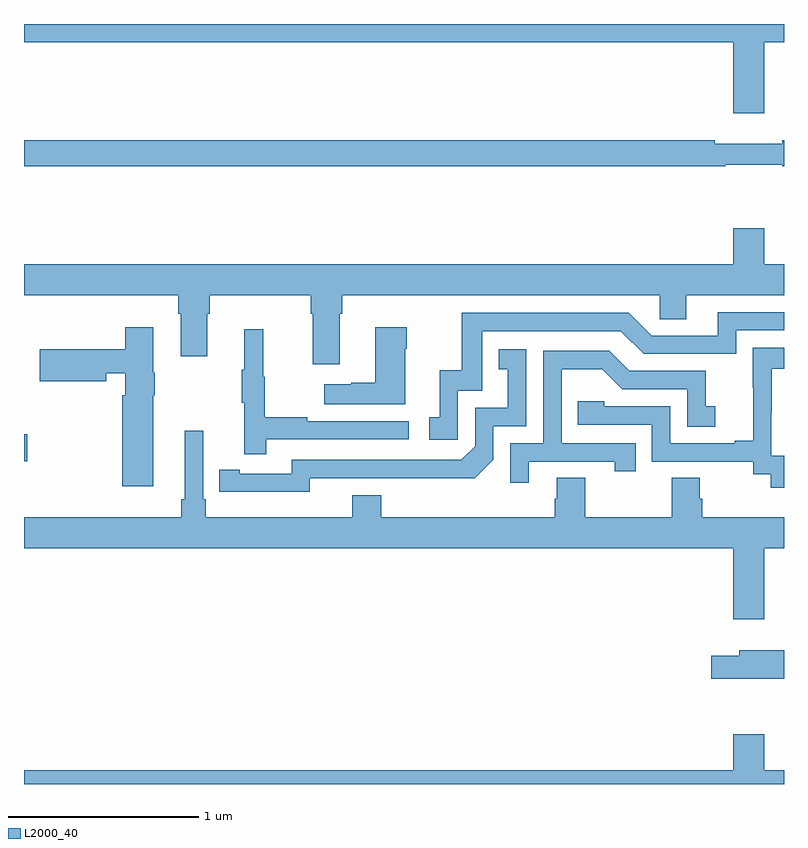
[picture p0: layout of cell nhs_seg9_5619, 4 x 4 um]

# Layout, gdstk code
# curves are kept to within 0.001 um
import gdstk
lib = gdstk.Library(unit=1e-6, precision=1e-09)
def R(c, l, rs):  # rectangles x0, y0, x1, y1
    for r in rs: c.add(gdstk.rectangle(r[:2], r[2:], *l))
def P(c, l, *ps):  # polygons
    for p in ps: c.add(gdstk.Polygon(p, *l))
L2000_40 = (2000, 40)

nhs_seg9_5619 = lib.new_cell('nhs_seg9_5619')
R(nhs_seg9_5619, L2000_40, [(437,1210.198,437.017,1210.34)])
P(nhs_seg9_5619, L2000_40, [(440.896,1212.404),(441,1212.404),(441,1212.5),(437,1212.5),(437,1212.404),(440.732,1212.404),(440.732,1212.03),(440.896,1212.03)],
  [(440.692,1211.76),(440.992,1211.76),(440.992,1211.752),(441,1211.752),(441,1211.888),(440.992,1211.888),(440.992,1211.869),(440.636,1211.869),(440.636,1211.888),(437,1211.888),(437,1211.752),(440.692,1211.752)],
  [(438.661,1210.976),(438.674,1210.976),(438.674,1211.072),(440.346,1211.072),(440.346,1210.945),(440.485,1210.945),(440.485,1211.072),(441,1211.072),(441,1211.236),(440.896,1211.236),(440.896,1211.425),(440.732,1211.425),(440.732,1211.236),(437,1211.236),(437,1211.072),(437.813,1211.072),(437.813,1210.976),(437.825,1210.976),(437.825,1210.752),(437.965,1210.752),(437.965,1210.976),(437.978,1210.976),(437.978,1211.072),(438.509,1211.072),(438.509,1210.976),(438.521,1210.976),(438.521,1210.71),(438.661,1210.71)],
  [(439.284,1210.569),(439.413,1210.569),(439.413,1210.884),(440.142,1210.884),(440.262,1210.764),(440.748,1210.764),(440.748,1210.887),(441,1210.887),(441,1210.983),(440.651,1210.983),(440.651,1210.86),(440.304,1210.86),(440.184,1210.98),(439.305,1210.98),(439.305,1210.678),(439.187,1210.678),(439.187,1210.431),(439.134,1210.431),(439.134,1210.311),(439.284,1210.311)],
  [(437.68,1210.545),(437.688,1210.545),(437.688,1210.665),(437.68,1210.665),(437.68,1210.903),(437.534,1210.903),(437.534,1210.789),(437.082,1210.789),(437.082,1210.619),(437.434,1210.619),(437.434,1210.662),(437.534,1210.662),(437.534,1210.545),(437.516,1210.545),(437.516,1210.068),(437.68,1210.068)],
  [(439.006,1210.79),(439.014,1210.79),(439.014,1210.903),(438.848,1210.903),(438.848,1210.613),(438.722,1210.613),(438.722,1210.603),(438.579,1210.603),(438.579,1210.499),(439.006,1210.499)],
  [(438.275,1210.314),(439.024,1210.314),(439.024,1210.41),(438.491,1210.41),(438.491,1210.43),(438.268,1210.43),(438.268,1210.644),(438.26,1210.644),(438.26,1210.894),(438.158,1210.894),(438.158,1210.681),(438.147,1210.681),(438.147,1210.507),(438.158,1210.507),(438.158,1210.236),(438.275,1210.236)],
  [(441,1210.227),(440.934,1210.227),(440.934,1210.457),(440.936,1210.457),(440.936,1210.685),(441,1210.685),(441,1210.795),(440.836,1210.795),(440.836,1210.589),(440.837,1210.589),(440.837,1210.306),(440.741,1210.306),(440.741,1210.293),(440.4,1210.293),(440.4,1210.488),(440.055,1210.488),(440.055,1210.515),(439.915,1210.515),(439.915,1210.392),(440.304,1210.392),(440.304,1210.197),(440.838,1210.197),(440.838,1210.129),(440.931,1210.129),(440.931,1210.059),(441,1210.059)],
  [(438.504,1210.11),(439.372,1210.109),(439.47,1210.206),(439.47,1210.383),(439.644,1210.383),(439.644,1210.789),(439.498,1210.789),(439.498,1210.683),(439.547,1210.683),(439.547,1210.479),(439.374,1210.479),(439.374,1210.278),(439.302,1210.206),(438.408,1210.206),(438.408,1210.134),(438.136,1210.134),(438.136,1210.154),(438.028,1210.154),(438.028,1210.038),(438.504,1210.037)],
  [(439.657,1210.197),(440.108,1210.197),(440.108,1210.146),(440.219,1210.146),(440.219,1210.293),(439.83,1210.293),(439.83,1210.682),(440.044,1210.682),(440.148,1210.578),(440.49,1210.578),(440.49,1210.38),(440.638,1210.38),(440.638,1210.489),(440.589,1210.489),(440.589,1210.674),(440.185,1210.674),(440.08,1210.779),(439.734,1210.779),(439.734,1210.293),(439.56,1210.293),(439.56,1210.086),(439.657,1210.086)],
  [(440.557,1210.002),(440.557,1210.112),(440.41,1210.112),(440.41,1209.904),(439.953,1209.904),(439.953,1210.112),(439.805,1210.112),(439.805,1210.002),(439.793,1210.002),(439.793,1209.904),(438.881,1209.904),(438.881,1210.021),(438.728,1210.021),(438.728,1209.904),(437.957,1209.904),(437.957,1210),(437.943,1210),(437.943,1210.36),(437.846,1210.36),(437.846,1210),(437.827,1210),(437.827,1209.904),(437,1209.904),(437,1209.74),(440.732,1209.74),(440.732,1209.366),(440.896,1209.366),(440.896,1209.74),(441,1209.74),(441,1209.904),(440.57,1209.904),(440.57,1210.002)],
  [(441,1209.205),(440.765,1209.205),(440.765,1209.175),(440.616,1209.175),(440.616,1209.053),(441,1209.053)],
  [(441,1208.572),(440.896,1208.572),(440.896,1208.761),(440.732,1208.761),(440.732,1208.572),(437,1208.572),(437,1208.5),(441,1208.5)])

lib.write_gds('nhs_seg9_5619.gds')
